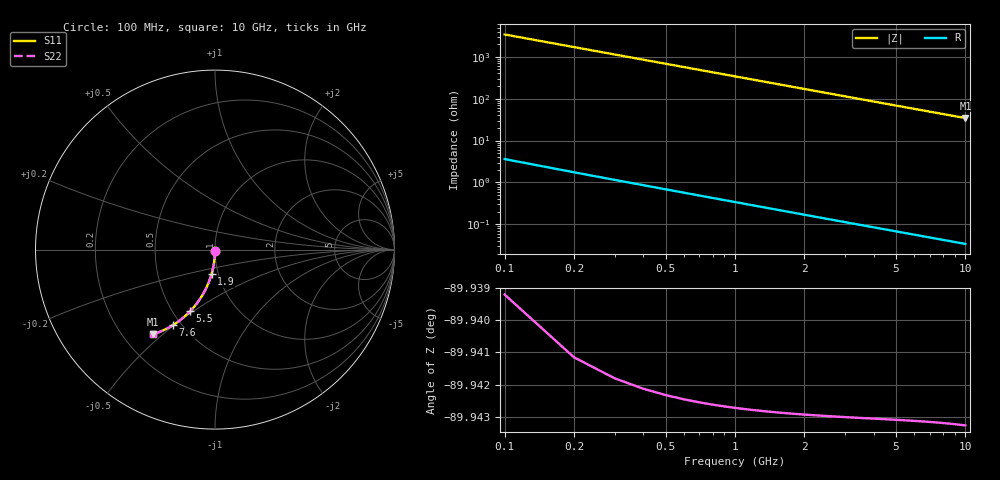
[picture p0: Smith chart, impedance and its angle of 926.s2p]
# Hz S RI R 50.00
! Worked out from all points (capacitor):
!   100 points, 100 MHz to 10 GHz, reference 50 ohm
!   read as one part in shunt: C = 466 fF near 100 MHz
!   lowest |Z| = 34.5 ohm at 10 GHz (marker M1)
!   S11 on the Smith chart (normalised r, x): 100 MHz: 1.00, -0.01; 1.9 GHz: 0.93, -0.26; 5.5 GHz: 0.61, -0.49; 7.6 GHz: 0.45, -0.49; 10 GHz: 0.32, -0.46
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1e8  -5.31e-05 -0.0073  0.9999 -0.00736  0.9999 -0.00736  -5.31e-05 -0.0073
2e8  -0.000221 -0.0146  0.9998 -0.0147  0.9998 -0.0147  -0.000221 -0.0146
3e8  -0.000497 -0.0219  0.9995 -0.0221  0.9995 -0.0221  -0.000497 -0.0219
4e8  -0.000879 -0.0292  0.9991 -0.0294  0.9991 -0.0294  -0.000879 -0.0292
5e8  -0.00137 -0.0364  0.9986 -0.0367  0.9986 -0.0367  -0.00137 -0.0364
6e8  -0.00196 -0.0437  0.998 -0.044  0.998 -0.044  -0.00196 -0.0437
8e8  -0.00347 -0.0581  0.9965 -0.0586  0.9965 -0.0586  -0.00347 -0.0581
9e8  -0.00438 -0.0653  0.9956 -0.0659  0.9956 -0.0659  -0.00438 -0.0653
1.1e9  -0.00652 -0.0797  0.9935 -0.0803  0.9935 -0.0803  -0.00652 -0.0797
1.4e9  -0.0105 -0.101  0.9895 -0.1018  0.9895 -0.1018  -0.0105 -0.101
1.8e9  -0.0172 -0.1289  0.9828 -0.13  0.9828 -0.13  -0.0172 -0.1289
1.9e9  -0.0191 -0.1358  0.9809 -0.1369  0.9809 -0.1369  -0.0191 -0.1358
2.2e9  -0.0254 -0.1562  0.9746 -0.1575  0.9746 -0.1575  -0.0254 -0.1562
2.6e9  -0.035 -0.1826  0.9649 -0.1842  0.9649 -0.1842  -0.035 -0.1826
3.4e9  -0.0583 -0.2328  0.9417 -0.2349  0.9417 -0.2349  -0.0583 -0.2328
4.2e9  -0.0862 -0.2788  0.9138 -0.2814  0.9138 -0.2814  -0.0862 -0.2788
5.1e9  -0.1218 -0.325  0.8782 -0.3281  0.8782 -0.3281  -0.1218 -0.325
5.5e9  -0.1388 -0.3435  0.8612 -0.3469  0.8612 -0.3469  -0.1388 -0.3435
6.7e9  -0.1925 -0.3917  0.8075 -0.3959  0.8075 -0.3959  -0.1925 -0.3917
7.6e9  -0.2344 -0.4208  0.7656 -0.4255  0.7656 -0.4255  -0.2344 -0.4208
8.4e9  -0.2719 -0.4418  0.7281 -0.447  0.7281 -0.447  -0.2719 -0.4418
1e10  -0.3454 -0.4719  0.6546 -0.4781  0.6546 -0.4781  -0.3454 -0.4719
